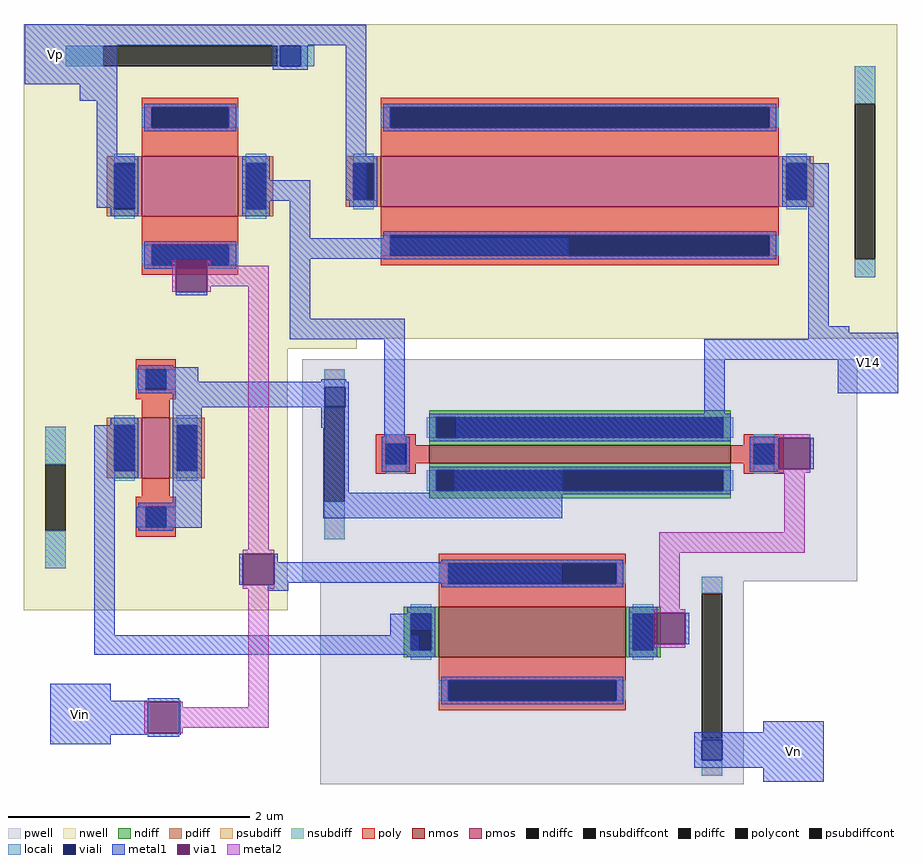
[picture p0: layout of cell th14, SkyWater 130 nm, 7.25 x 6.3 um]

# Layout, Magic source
magic
tech sky130A
magscale 1 2
<< psubdiff >>
rect 1648 -517 1682 -459
<< viali >>
rect 949 658 983 692
rect 1023 92 1057 126
rect 1648 -493 1682 -459
<< metal1 >>
rect 526 727 626 728
rect 526 693 1092 727
rect 526 628 679 693
rect 937 692 995 693
rect 937 658 949 692
rect 983 658 995 692
rect 937 652 995 658
rect 617 601 679 628
rect 645 495 679 601
rect 645 423 707 495
rect 891 469 925 503
rect 891 435 999 469
rect 1058 436 1092 693
rect 1787 437 1859 497
rect 891 419 925 435
rect 965 373 999 435
rect 736 336 864 362
rect 736 328 776 336
rect 828 328 864 336
rect 965 339 1427 373
rect 776 278 828 284
rect 965 239 999 339
rect 965 205 1156 239
rect 1825 227 1859 437
rect 1825 216 1893 227
rect 1825 205 1974 216
rect 713 135 813 159
rect 1017 135 1059 139
rect 713 126 1063 135
rect 713 125 1023 126
rect 771 93 1023 125
rect 641 -11 707 63
rect 641 -285 675 -11
rect 771 -73 819 93
rect 1017 92 1023 93
rect 1057 92 1063 126
rect 1017 59 1063 92
rect 711 -107 819 -73
rect 1021 -49 1063 59
rect 1122 -2 1156 205
rect 1652 171 1974 205
rect 1652 77 1686 171
rect 1874 116 1974 171
rect 1241 43 1686 77
rect 1652 42 1686 43
rect 1770 36 1776 42
rect 1736 32 1776 36
rect 1734 -2 1776 32
rect 1736 -10 1776 -2
rect 1828 -10 1834 42
rect 1239 -49 1417 -13
rect 1021 -91 1417 -49
rect 881 -202 887 -150
rect 939 -164 945 -150
rect 939 -198 1416 -164
rect 939 -202 963 -198
rect 929 -212 963 -202
rect 1563 -250 1569 -248
rect 1132 -251 1166 -250
rect 1132 -276 1199 -251
rect 1132 -285 1166 -276
rect 641 -318 1179 -285
rect 1534 -300 1569 -250
rect 1621 -300 1627 -248
rect 1534 -310 1568 -300
rect 568 -394 668 -366
rect 730 -394 782 -390
rect 568 -396 784 -394
rect 568 -448 730 -396
rect 782 -448 784 -396
rect 1750 -446 1850 -428
rect 568 -450 784 -448
rect 568 -466 668 -450
rect 730 -454 782 -450
rect 1636 -459 1850 -446
rect 1636 -493 1648 -459
rect 1682 -493 1850 -459
rect 1636 -505 1850 -493
rect 1750 -528 1850 -505
<< via1 >>
rect 776 284 828 336
rect 1776 -10 1828 42
rect 887 -202 939 -150
rect 1569 -300 1621 -248
rect 730 -448 782 -396
<< metal2 >>
rect 770 284 776 336
rect 828 327 834 336
rect 828 293 930 327
rect 828 284 834 293
rect 896 -144 930 293
rect 1776 42 1828 48
rect 1776 -16 1828 -10
rect 1785 -115 1819 -16
rect 887 -150 939 -144
rect 887 -208 939 -202
rect 1578 -149 1819 -115
rect 724 -448 730 -396
rect 782 -405 788 -396
rect 896 -405 930 -208
rect 1578 -242 1612 -149
rect 1569 -248 1621 -242
rect 1569 -306 1621 -300
rect 782 -439 930 -405
rect 782 -448 788 -439
use sky130_fd_pr__pfet_01v8_HPNF99  XM0
transform 1 0 743 0 1 25
box -219 -269 219 269
use sky130_fd_pr__nfet_01v8_JZU22M  XM1
transform 1 0 1367 0 1 -280
box -351 -252 351 252
use sky130_fd_pr__pfet_01v8_TM5S5A  XM2
transform 1 0 800 0 1 459
box -276 -269 276 269
use sky130_fd_pr__pfet_01v8_AM8GZ5  XM3
transform 1 0 1446 0 1 467
box -526 -261 526 261
use sky130_fd_pr__nfet_01v8_H7HSAV  XM4
transform 0 1 1446 1 0 15
box -211 -460 157 460
<< labels >>
flabel metal1 1874 116 1974 216 0 FreeSans 256 0 0 0 V14
port 1 nsew
flabel metal1 526 628 626 728 0 FreeSans 256 0 0 0 Vp
port 0 nsew
flabel metal1 1750 -528 1850 -428 0 FreeSans 256 0 0 0 Vn
port 3 nsew
flabel metal1 568 -466 668 -366 0 FreeSans 256 0 0 0 Vin
port 2 nsew
<< end >>

# cell sky130_fd_pr__pfet_01v8_HPNF99: kit device sky130_fd_pr__pfet_01v8, w 0.5 l 0.227 m 1 nf 1 diffcov 100 polycov 100 guard 1 glc 1 grc 1 gtc 1 gbc 1 tbcov 100 rlcov 100 topc 1 botc 1 poverlap 0 doverlap 1 lmin 0.15 wmin 0.42 compatible {sky130_fd_pr__pfet_01v8 sky130_fd_pr__pfet_01v8_lvt sky130_fd_pr__pfet_01v8_hvt sky130_fd_pr__pfet_g5v0d10v5} full_metal 1 viasrc 100 viadrn 100 viagate 100 viagb 0 viagr 0 viagl 0 viagt 0

# cell sky130_fd_pr__nfet_01v8_JZU22M: kit device sky130_fd_pr__nfet_01v8, w 0.42 l 1.55 m 1 nf 1 diffcov 100 polycov 100 guard 1 glc 1 grc 1 gtc 1 gbc 1 tbcov 100 rlcov 100 topc 1 botc 1 poverlap 0 doverlap 1 lmin 0.15 wmin 0.42 compatible {sky130_fd_pr__nfet_01v8 sky130_fd_pr__nfet_01v8_lvt sky130_fd_bs_flash__special_sonosfet_star sky130_fd_pr__nfet_g5v0d10v5 sky130_fd_pr__nfet_05v0_nvt sky130_fd_pr__nfet_03v3_nvt} full_metal 1 viasrc 100 viadrn 100 viagate 100 viagb 0 viagr 0 viagl 0 viagt 0

# cell sky130_fd_pr__pfet_01v8_TM5S5A: kit device sky130_fd_pr__pfet_01v8, w 0.5 l 0.8 m 1 nf 1 diffcov 100 polycov 100 guard 1 glc 1 grc 1 gtc 1 gbc 1 tbcov 100 rlcov 100 topc 1 botc 1 poverlap 0 doverlap 1 lmin 0.15 wmin 0.42 compatible {sky130_fd_pr__pfet_01v8 sky130_fd_pr__pfet_01v8_lvt sky130_fd_pr__pfet_01v8_hvt sky130_fd_pr__pfet_g5v0d10v5} full_metal 1 viasrc 100 viadrn 100 viagate 100 viagb 0 viagr 0 viagl 0 viagt 0

# cell sky130_fd_pr__pfet_01v8_AM8GZ5: kit device sky130_fd_pr__pfet_01v8, w 0.42 l 3.3 m 1 nf 1 diffcov 100 polycov 100 guard 1 glc 1 grc 1 gtc 1 gbc 1 tbcov 100 rlcov 100 topc 1 botc 1 poverlap 0 doverlap 1 lmin 0.15 wmin 0.42 compatible {sky130_fd_pr__pfet_01v8 sky130_fd_pr__pfet_01v8_lvt sky130_fd_pr__pfet_01v8_hvt sky130_fd_pr__pfet_g5v0d10v5} full_metal 1 viasrc 100 viadrn 100 viagate 100 viagb 0 viagr 0 viagl 0 viagt 0

# cell sky130_fd_pr__nfet_01v8_H7HSAV: kit device sky130_fd_pr__nfet_01v8, w 2.5 l 0.15 m 1 nf 1 diffcov 100 polycov 100 guard 1 glc 1 grc 1 gtc 1 gbc 1 tbcov 100 rlcov 100 topc 1 botc 1 poverlap 0 doverlap 1 lmin 0.15 wmin 0.42 compatible {sky130_fd_pr__nfet_01v8 sky130_fd_pr__nfet_01v8_lvt sky130_fd_bs_flash__special_sonosfet_star sky130_fd_pr__nfet_g5v0d10v5 sky130_fd_pr__nfet_05v0_nvt sky130_fd_pr__nfet_03v3_nvt} full_metal 1 viasrc 100 viadrn 100 viagate 100 viagb 0 viagr 0 viagl 0 viagt 0
